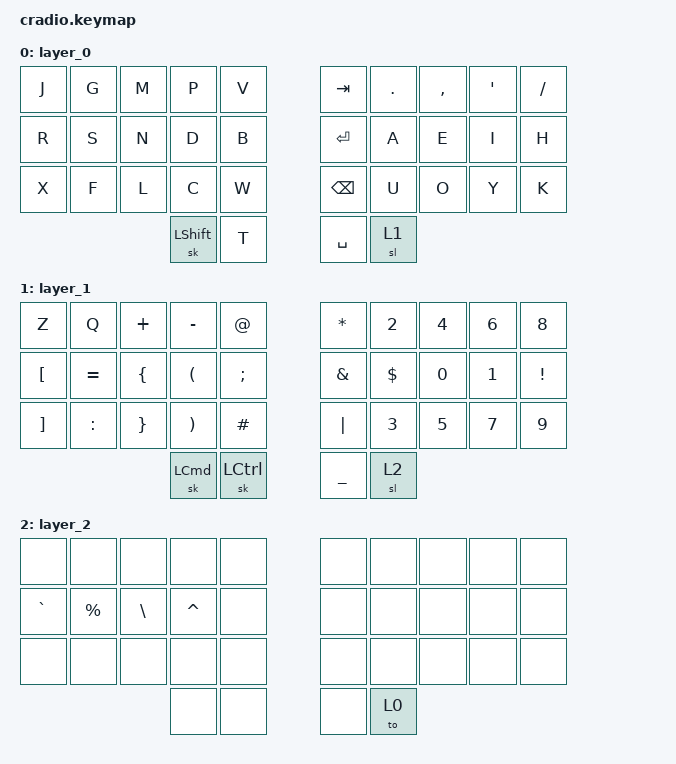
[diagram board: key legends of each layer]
#include <behaviors.dtsi>
#include <dt-bindings/zmk/keys.h>

/ {
    keymap {
        compatible = "zmk,keymap";

        layer_0 {
            bindings = <
&kp J  &kp G  &kp M  &kp P           &kp V    &kp TAB        &kp PERIOD  &kp COMMA  &kp SINGLE_QUOTE  &kp SLASH
&kp R  &kp S  &kp N  &kp D           &kp B    &kp ENTER      &kp A       &kp E      &kp I             &kp H
&kp X  &kp F  &kp L  &kp C           &kp W    &kp BACKSPACE  &kp U       &kp O      &kp Y             &kp K
                     &sk LEFT_SHIFT  &kp T    &kp SPACE      &sl 1
            >;
        };

        layer_1 {
            bindings = <
&kp Z              &kp Q      &kp PLUS        &kp MINUS              &kp AT              &kp STAR        &kp NUMBER_2  &kp NUMBER_4  &kp NUMBER_6  &kp NUMBER_8
&kp LEFT_BRACKET   &kp EQUAL  &kp LEFT_BRACE  &kp LEFT_PARENTHESIS   &kp SEMICOLON       &kp AMPS        &kp DOLLAR    &kp NUMBER_0  &kp NUMBER_1  &kp EXCL
&kp RIGHT_BRACKET  &kp COLON  &kp RBRC        &kp RIGHT_PARENTHESIS  &kp HASH            &kp PIPE        &kp NUMBER_3  &kp NUMBER_5  &kp NUMBER_7  &kp NUMBER_9
                                              &sk LEFT_COMMAND       &sk LEFT_CONTROL    &kp UNDERSCORE  &sl 2
            >;
        };

        layer_2 {
            bindings = <
&none      &none        &none          &none      &none    &none  &none  &none  &none  &none
&kp GRAVE  &kp PERCENT  &kp BACKSLASH  &kp CARET  &none    &none  &none  &none  &none  &none
&none      &none        &none          &none      &none    &none  &none  &none  &none  &none
                                       &none      &none    &none  &to 0
            >;
        };
    };
};
